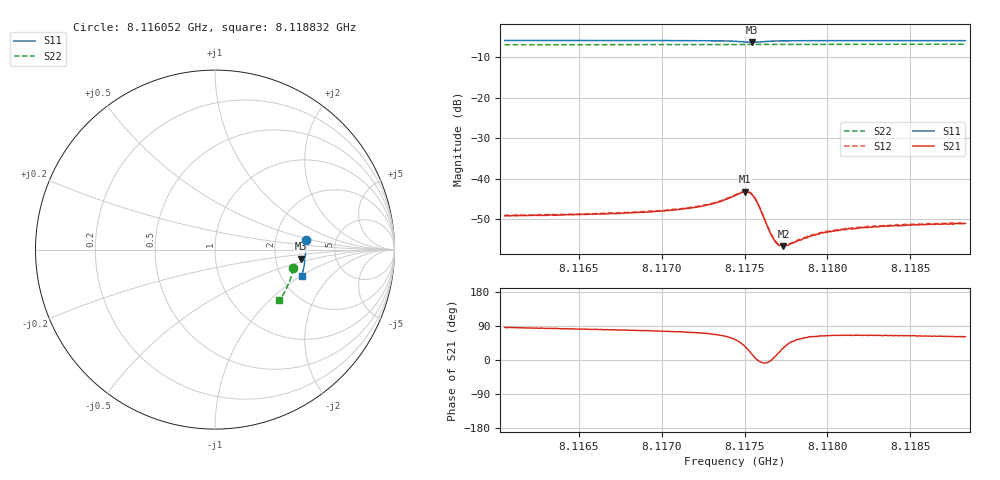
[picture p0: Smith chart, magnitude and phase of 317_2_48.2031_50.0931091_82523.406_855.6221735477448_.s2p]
#  HZ  S  RI  R  50.00
! Rohde & Schwarz Vector Network Analyzer
! Rohde-Schwarz,ZNB20-2Port,1311601062101988,3.16
! Created: UTC 3/20/2024, 11:50:14 AM
! freq[Hz]  re:S11  im:S11  re:S21  im:S21  re:S12  im:S12  re:S22  im:S22
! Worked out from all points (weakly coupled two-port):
!   401 points, 8.116052 GHz to 8.118832 GHz, reference 50 ohm
!   highest |S21| = -43.18 dB at 8.117505 GHz (marker M1); lowest = -56.6 dB at 8.117734 GHz (marker M2)
!   lowest |S11| = -6.4 dB at 8.117546 GHz (marker M3), VSWR 2.85, Z = 140 - j18.6 ohm
!   |S11| at or under -10 dB: nowhere
!   |S22| runs from -7.0 to -6.8 dB; largest |S21 - S12| = 0.0002
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8.1160524e9  0.5044 0.0543  0.00024 0.0035  0.000322 0.00356  0.4362 -0.1049
8.116518e9  0.5063 0.0193  0.000554 0.00361  0.000594 0.00363  0.4289 -0.1363
8.1169835e9  0.5054 -0.0167  0.000935 0.00387  0.001 0.00394  0.419 -0.1673
8.1171294e9  0.5043 -0.0285  0.00118 0.00411  0.00123 0.00412  0.4154 -0.177
8.1172476e9  0.5026 -0.0388  0.00149 0.00438  0.00164 0.00441  0.4123 -0.1845
8.117324e9  0.5006 -0.046  0.00195 0.00467  0.00205 0.00471  0.4101 -0.1896
8.1174421e9  0.4923 -0.0577  0.00365 0.00502  0.00377 0.00511  0.4066 -0.1973
8.1175047e9  0.482 -0.0587  0.0057 0.00396  0.00583 0.00397  0.4045 -0.2008
8.1175255e9  0.4788 -0.0556  0.00617 0.00284  0.00632 0.00287  0.404 -0.202
8.1175463e9  0.4779 -0.0511  0.00614 0.00154  0.00625 0.00154  0.4033 -0.203
8.1175811e9  0.4825 -0.0453  0.00488 -9.81e-05  0.00493 -0.000133  0.4027 -0.2048
8.1176436e9  0.493 -0.0476  0.00241 -0.000222  0.00247 -0.000257  0.4013 -0.209
8.1176784e9  0.496 -0.0517  0.00176 0.000206  0.00181 0.000234  0.4005 -0.2111
8.1177062e9  0.4974 -0.0549  0.00143 0.000498  0.00146 0.000523  0.3996 -0.2131
8.117734e9  0.4982 -0.0581  0.00126 0.000779  0.0013 0.000788  0.3987 -0.2149
8.1177548e9  0.4987 -0.0604  0.00117 0.000963  0.0012 0.000966  0.3983 -0.2162
8.1179077e9  0.4987 -0.0749  0.000939 0.00176  0.000996 0.00177  0.3933 -0.2259
8.1179911e9  0.4978 -0.082  0.000951 0.00196  0.00103 0.00203  0.3906 -0.2311
8.1180814e9  0.4968 -0.0893  0.00102 0.00215  0.00101 0.00215  0.3875 -0.2368
8.1182482e9  0.4943 -0.1023  0.00107 0.00227  0.00113 0.00234  0.3818 -0.2469
8.1183732e9  0.4922 -0.1117  0.00114 0.00237  0.00119 0.00241  0.3773 -0.2543
8.1188318e9  0.4832 -0.1451  0.00134 0.00248  0.00142 0.00252  0.3593 -0.2811
